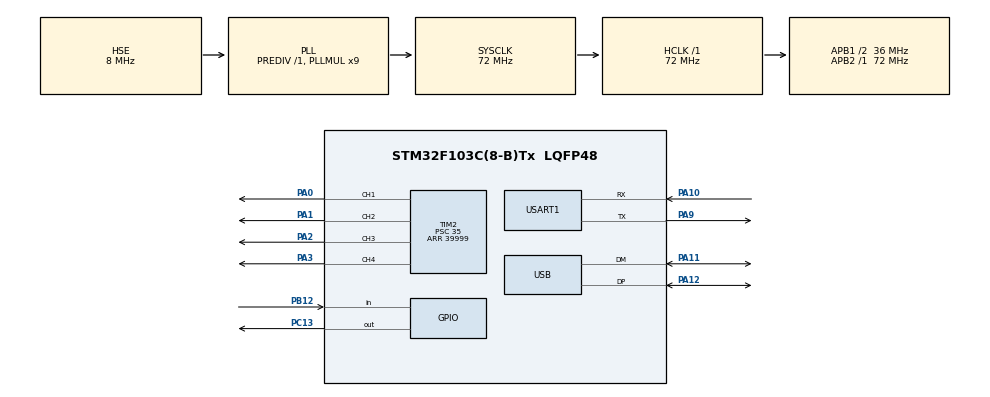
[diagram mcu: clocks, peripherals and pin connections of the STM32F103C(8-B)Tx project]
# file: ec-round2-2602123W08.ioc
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Mcu.Family=STM32F1
Mcu.Name=STM32F103C(8-B)Tx
Mcu.Package=LQFP48
NVIC.PriorityGroup=NVIC_PRIORITYGROUP_4
PA0-WKUP.Signal=S_TIM2_CH1_ETR
PA1.Signal=S_TIM2_CH2
PA10.Mode=Asynchronous
PA10.Signal=USART1_RX
PA11.Mode=Device
PA11.Signal=USB_DM
PA12.Mode=Device
PA12.Signal=USB_DP
PA13.Mode=Serial_Wire
PA13.Signal=SYS_JTMS-SWDIO
PA14.Mode=Serial_Wire
PA14.Signal=SYS_JTCK-SWCLK
PA2.Signal=S_TIM2_CH3
PA3.Signal=S_TIM2_CH4
PA9.Mode=Asynchronous
PA9.Signal=USART1_TX
PB12.GPIO_PuPd=GPIO_PULLUP
PB12.Signal=GPIO_Input
PC13-TAMPER-RTC.Signal=GPIO_Output
PD0-OSC_IN.Mode=HSE-External-Oscillator
PD0-OSC_IN.Signal=RCC_OSC_IN
PD1-OSC_OUT.Mode=HSE-External-Oscillator
PD1-OSC_OUT.Signal=RCC_OSC_OUT
ProjectManager.HeapSize=0x200
ProjectManager.StackSize=0x400
ProjectManager.TargetToolchain=CMake
RCC.AHBFreq_Value=72000000
RCC.APB1CLKDivider=RCC_HCLK_DIV2
RCC.APB1Freq_Value=36000000
RCC.APB1TimFreq_Value=72000000
RCC.APB2Freq_Value=72000000
RCC.APB2TimFreq_Value=72000000
RCC.HCLKFreq_Value=72000000
RCC.PLLMUL=RCC_PLL_MUL9
RCC.PLLSourceVirtual=RCC_PLLSOURCE_HSE
RCC.SYSCLKFreq_VALUE=72000000
RCC.SYSCLKSource=RCC_SYSCLKSOURCE_PLLCLK
RCC.USBFreq_Value=48000000
RCC.USBPrescaler=RCC_USBCLKSOURCE_PLL_DIV1_5
SH.S_TIM2_CH1_ETR.0=TIM2_CH1,PWM Generation1 CH1
SH.S_TIM2_CH2.0=TIM2_CH2,PWM Generation2 CH2
SH.S_TIM2_CH3.0=TIM2_CH3,PWM Generation3 CH3
SH.S_TIM2_CH4.0=TIM2_CH4,PWM Generation4 CH4
TIM2.AutoReloadPreload=TIM_AUTORELOAD_PRELOAD_ENABLE
TIM2.Channel-PWM\ Generation1\ CH1=TIM_CHANNEL_1
TIM2.Channel-PWM\ Generation2\ CH2=TIM_CHANNEL_2
TIM2.Channel-PWM\ Generation3\ CH3=TIM_CHANNEL_3
TIM2.Channel-PWM\ Generation4\ CH4=TIM_CHANNEL_4
TIM2.Period=39999
TIM2.Prescaler=35
TIM2.Pulse-PWM\ Generation1\ CH1=1500
TIM2.Pulse-PWM\ Generation2\ CH2=1500
TIM2.Pulse-PWM\ Generation3\ CH3=1500
TIM2.Pulse-PWM\ Generation4\ CH4=1500
USART1.VirtualMode=VM_ASYNC
board=custom

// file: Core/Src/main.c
/* USER CODE BEGIN Header */
/**
  ******************************************************************************
  * @file           : main.c
  * @brief          : Main program body
  ******************************************************************************
  * @attention
  *
  * Copyright (c) 2026 STMicroelectronics.
  * All rights reserved.
  *
  * This software is licensed under terms that can be found in the LICENSE file
  * in the root directory of this software component.
  * If no LICENSE file comes with this software, it is provided AS-IS.
  *
  ******************************************************************************
  */
/* USER CODE END Header */
#include "main.h"
#include "tim.h"
#include "usart.h"
#include "usb.h"
#include "gpio.h"

/* USER CODE BEGIN Includes */
#include <stdio.h>
#include "servo.h"
/* USER CODE END Includes */

/* USER CODE BEGIN PD */
#define LED_PORT        GPIOC
#define LED_PIN         GPIO_PIN_13
#define KEY_PORT        GPIOB
#define KEY_PIN         GPIO_PIN_12

#define LED_MODE_BLINK  0U
#define LED_MODE_OFF    1U
#define LED_MODE_ON     2U
#define LED_MODE_COUNT  3U

#define KEY_DEBOUNCE_MS 20U
#define LED_BLINK_MS    500U

/* T1 单轴扫动：1 表示走满 500-2500us，0 表示只用中段以免未标定时撞限位 */
#define PWM_TEST_FULL_RANGE 0
/* USER CODE END PD */

/* USER CODE BEGIN PV */
static uint32_t s_led_mode = LED_MODE_BLINK;
static uint32_t s_led_tick = 0;
/* USER CODE END PV */

void SystemClock_Config(void);
/* USER CODE BEGIN PFP */
static void app_self_check(void);
static const char *app_reset_cause(void);
static uint8_t app_key_take_press(void);
static void app_led_update(void);
static void app_pwm_test(void);
/* USER CODE END PFP */

/* USER CODE BEGIN 0 */
/* printf 重定向：newlib 的 _write 是 weak 符号，这里覆盖它 */
int _write(int file, char *ptr, int len)
{
  (void)file;
  HAL_UART_Transmit(&huart1, (uint8_t *)ptr, (uint16_t)len, HAL_MAX_DELAY);
  return len;
}

static const char *app_reset_cause(void)
{
  if (__HAL_RCC_GET_FLAG(RCC_FLAG_PORRST))  return "POR";
  if (__HAL_RCC_GET_FLAG(RCC_FLAG_PINRST))  return "PIN";
  if (__HAL_RCC_GET_FLAG(RCC_FLAG_SFTRST))  return "SOFTWARE";
  if (__HAL_RCC_GET_FLAG(RCC_FLAG_IWDGRST)) return "IWDG";
  if (__HAL_RCC_GET_FLAG(RCC_FLAG_WWDGRST)) return "WWDG";
  if (__HAL_RCC_GET_FLAG(RCC_FLAG_LPWRRST)) return "LPWR";
  return "UNKNOWN";
}

static void app_self_check(void)
{
  printf("\r\n================================\r\n");
  printf(" ec-round2-2602123W08  T0 自检\r\n");
  printf("================================\r\n");
  printf("reset   : %s\r\n", app_reset_cause());
  printf("SYSCLK  : %lu MHz\r\n", (unsigned long)(HAL_RCC_GetSysClockFreq() / 1000000U));
  printf("HCLK    : %lu MHz\r\n", (unsigned long)(HAL_RCC_GetHCLKFreq() / 1000000U));
  printf("PCLK1   : %lu MHz\r\n", (unsigned long)(HAL_RCC_GetPCLK1Freq() / 1000000U));
  printf("PCLK2   : %lu MHz\r\n", (unsigned long)(HAL_RCC_GetPCLK2Freq() / 1000000U));
  printf("TIM2    : PSC=%lu ARR=%lu\r\n",
         (unsigned long)htim2.Init.Prescaler,
         (unsigned long)htim2.Init.Period);
  printf("UART1   : %lu bps\r\n", (unsigned long)huart1.Init.BaudRate);
  printf("LED     : PC13, 1Hz blink\r\n");
  printf("KEY     : PB12, short press to switch LED mode\r\n");
  printf("================================\r\n");
}

/* 按键消抖：检测到一次稳定的按下动作返回 1 */
static uint8_t app_key_take_press(void)
{
  static uint8_t s_level = 0;
  static uint8_t s_stable = 0;
  static uint32_t s_change_tick = 0;

  uint8_t level = (HAL_GPIO_ReadPin(KEY_PORT, KEY_PIN) == GPIO_PIN_RESET) ? 1U : 0U;
  uint32_t now = HAL_GetTick();

  if (level != s_level)
  {
    s_level = level;
    s_change_tick = now;
    return 0;
  }

  if ((s_stable != s_level) && ((now - s_change_tick) >= KEY_DEBOUNCE_MS))
  {
    s_stable = s_level;
    return s_stable;
  }

  return 0;
}

static void app_led_update(void)
{
  uint32_t now = HAL_GetTick();

  switch (s_led_mode)
  {
  case LED_MODE_BLINK:
    if ((now - s_led_tick) >= LED_BLINK_MS)
    {
      s_led_tick = now;
      HAL_GPIO_TogglePin(LED_PORT, LED_PIN);
    }
    break;

  case LED_MODE_OFF:
    /* PC13 低电平点亮，所以高电平是灭 */
    HAL_GPIO_WritePin(LED_PORT, LED_PIN, GPIO_PIN_SET);
    break;

  case LED_MODE_ON:
    HAL_GPIO_WritePin(LED_PORT, LED_PIN, GPIO_PIN_RESET);
    break;

  default:
    s_led_mode = LED_MODE_BLINK;
    break;
  }
}

/* T1：CH1 每隔 1.5s 换一个脉宽，方便示波器或万用表读数 */
static void app_pwm_test(void)
{
  static const uint16_t seq_full[] = { 1500U, 500U, 1000U, 1500U, 2000U, 2500U };
  static const uint16_t seq_safe[] = { 1500U, 1000U, 1250U, 1500U, 1750U, 2000U };
  static uint32_t t_last = 0;
  static uint8_t  idx = 0;

  const uint16_t *seq = (PWM_TEST_FULL_RANGE != 0) ? seq_full : seq_safe;
  const uint8_t   len = (uint8_t)(sizeof(seq_full) / sizeof(seq_full[0]));
  uint32_t now = HAL_GetTick();

  if ((now - t_last) < 1500U)
  {
    return;
  }

  t_last = now;

  servo_write_us(0U, seq[idx]);
  printf("[PWM] CH1 = %u us\r\n", (unsigned)servo_get_us(0U));

  idx = (uint8_t)((idx + 1U) % len);
}
/* USER CODE END 0 */

int main(void)
{

  /* MCU Configuration--------------------------------------------------------*/

  /* Reset of all peripherals, Initializes the Flash interface and the Systick. */
  HAL_Init();

  /* Configure the system clock */
  SystemClock_Config();

  /* Initialize all configured peripherals */
  MX_GPIO_Init();
  MX_TIM2_Init();
  MX_USART1_UART_Init();
  MX_USB_PCD_Init();
  /* USER CODE BEGIN 2 */
  servo_init();
  app_self_check();
  s_led_tick = HAL_GetTick();
  /* USER CODE END 2 */

  /* Infinite loop */
  while (1)
  {

    /* USER CODE BEGIN 3 */
    if (app_key_take_press())
    {
      s_led_mode = (s_led_mode + 1U) % LED_MODE_COUNT;
      if (s_led_mode == LED_MODE_BLINK)
      {
        s_led_tick = HAL_GetTick();
      }
      printf("[KEY] LED mode -> %lu\r\n", (unsigned long)s_led_mode);
    }

    app_led_update();
    app_pwm_test();
  }
  /* USER CODE END 3 */
}

void SystemClock_Config(void)
{
  RCC_OscInitTypeDef RCC_OscInitStruct = {0};
  RCC_ClkInitTypeDef RCC_ClkInitStruct = {0};
  RCC_PeriphCLKInitTypeDef PeriphClkInit = {0};

  /** Initializes the RCC Oscillators according to the specified parameters
  * in the RCC_OscInitTypeDef structure.
  */
  RCC_OscInitStruct.OscillatorType = RCC_OSCILLATORTYPE_HSE;
  RCC_OscInitStruct.HSEState = RCC_HSE_ON;
  RCC_OscInitStruct.HSEPredivValue = RCC_HSE_PREDIV_DIV1;
  RCC_OscInitStruct.HSIState = RCC_HSI_ON;
  RCC_OscInitStruct.PLL.PLLState = RCC_PLL_ON;
  RCC_OscInitStruct.PLL.PLLSource = RCC_PLLSOURCE_HSE;
  RCC_OscInitStruct.PLL.PLLMUL = RCC_PLL_MUL9;
  if (HAL_RCC_OscConfig(&RCC_OscInitStruct) != HAL_OK)
  {
    Error_Handler();
  }

  /** Initializes the CPU, AHB and APB buses clocks
  */
  RCC_ClkInitStruct.ClockType = RCC_CLOCKTYPE_HCLK|RCC_CLOCKTYPE_SYSCLK
                              |RCC_CLOCKTYPE_PCLK1|RCC_CLOCKTYPE_PCLK2;
  RCC_ClkInitStruct.SYSCLKSource = RCC_SYSCLKSOURCE_PLLCLK;
  RCC_ClkInitStruct.AHBCLKDivider = RCC_SYSCLK_DIV1;
  RCC_ClkInitStruct.APB1CLKDivider = RCC_HCLK_DIV2;
  RCC_ClkInitStruct.APB2CLKDivider = RCC_HCLK_DIV1;

  if (HAL_RCC_ClockConfig(&RCC_ClkInitStruct, FLASH_LATENCY_2) != HAL_OK)
  {
    Error_Handler();
  }
  PeriphClkInit.PeriphClockSelection = RCC_PERIPHCLK_USB;
  PeriphClkInit.UsbClockSelection = RCC_USBCLKSOURCE_PLL_DIV1_5;
  if (HAL_RCCEx_PeriphCLKConfig(&PeriphClkInit) != HAL_OK)
  {
    Error_Handler();
  }
}

void Error_Handler(void)
{
  __disable_irq();
  while (1)
  {
  }
}
